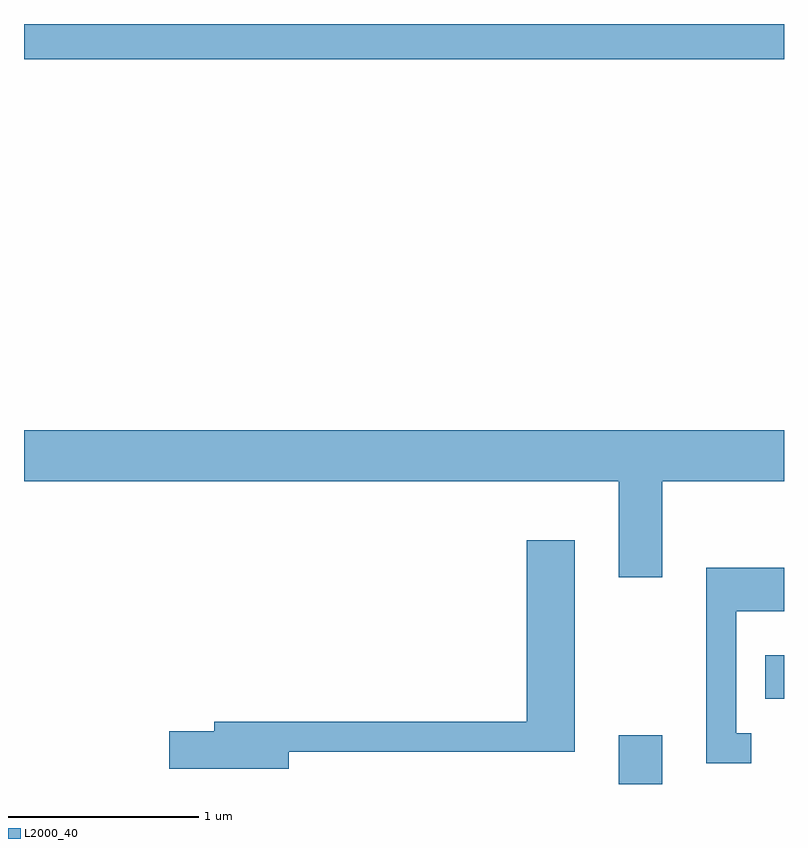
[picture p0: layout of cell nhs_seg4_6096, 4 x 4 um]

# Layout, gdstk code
import gdstk
lib = gdstk.Library(unit=1e-6, precision=1e-09)
def R(c, l, rs):  # rectangles x0, y0, x1, y1
    for r in rs: c.add(gdstk.rectangle(r[:2], r[2:], *l))
def P(c, l, *ps):  # polygons
    for p in ps: c.add(gdstk.Polygon(p, *l))
L2000_40 = (2000, 40)

nhs_seg4_6096 = lib.new_cell('nhs_seg4_6096')
R(nhs_seg4_6096, L2000_40, [(366.741,1341.982,366.969,1342.239), (367.511,1342.431,367.611,1342.659), (363.611,1345.796,367.611,1345.982)])
P(nhs_seg4_6096, L2000_40, [(363.611,1343.576),(366.741,1343.576),(366.741,1343.071),(366.969,1343.071),(366.969,1343.576),(367.611,1343.576),(367.611,1343.844),(363.611,1343.844)],
  [(365.004,1342.151),(366.509,1342.151),(366.509,1343.264),(366.256,1343.264),(366.256,1342.309),(364.611,1342.309),(364.611,1342.259),(364.376,1342.259),(364.376,1342.061),(365.004,1342.061)],
  [(367.438,1342.249),(367.359,1342.249),(367.359,1342.891),(367.611,1342.891),(367.611,1343.119),(367.201,1343.119),(367.201,1342.091),(367.438,1342.091)])

lib.write_gds('nhs_seg4_6096.gds')
